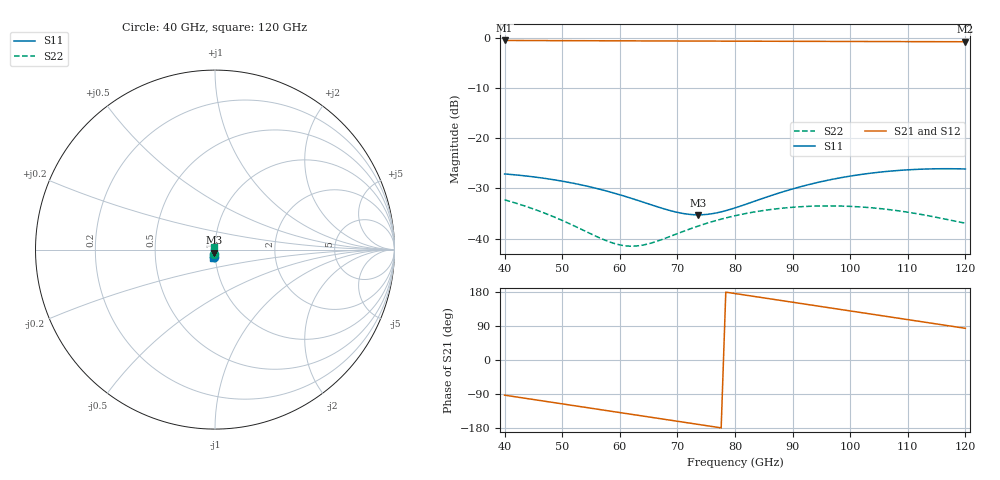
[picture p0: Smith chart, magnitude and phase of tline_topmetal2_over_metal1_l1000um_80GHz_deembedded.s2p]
! Created with skrf 2.0.1 (http://scikit-rf.org).
# GHz S DB R 50.0
!freq dBS11 angS11 dBS21 angS21 dBS12 angS12 dBS22 angS22
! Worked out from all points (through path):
!   101 points, 40 GHz to 120 GHz, reference 50 ohm
!   highest |S21| = -0.51 dB at 40 GHz (marker M1); lowest = -0.8 dB at 120 GHz (marker M2)
!   group delay of S21, straight-line fit = 6.37 ps
!   lowest |S11| = -35.3 dB at 73.6 GHz (marker M3), VSWR 1.04, Z = 49.6 - j1.67 ohm
!   |S11| at or under -10 dB: start of sweep to end of sweep
!   |S22| runs from -41.5 to -32.3 dB; largest |S21 - S12| = 1.1e-14
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40  -27.12 -97.8  -0.51 -92.8  -0.51 -92.8  -32.28 -103.8
43.2  -27.46 -104.2  -0.52 -100.1  -0.52 -100.1  -33.40 -110.8
46.4  -27.91 -110.0  -0.53 -107.5  -0.53 -107.5  -34.69 -116.8
49.6  -28.48 -115.2  -0.55 -114.8  -0.55 -114.8  -36.19 -121.0
53.6  -29.38 -120.7  -0.56 -124.0  -0.56 -124.0  -38.31 -122.5
57.6  -30.49 -124.4  -0.58 -133.2  -0.58 -133.2  -40.40 -117.0
60.8  -31.55 -125.6  -0.59 -140.5  -0.59 -140.5  -41.43 -106.9
62.4  -32.13 -125.4  -0.59 -144.2  -0.59 -144.2  -41.52 -100.9
64  -32.72 -124.5  -0.60 -147.9  -0.60 -147.9  -41.31 -95.4
67.2  -33.91 -120.4  -0.61 -155.2  -0.61 -155.2  -40.24 -87.6
70.4  -34.88 -112.6  -0.62 -162.6  -0.62 -162.6  -38.85 -85.2
73.6  -35.27 -101.8  -0.63 -169.9  -0.63 -169.9  -37.52 -87.0
76.8  -34.89 -90.7  -0.64 -177.3  -0.64 -177.3  -36.38 -91.4
80  -33.89 -82.2  -0.65 175.4  -0.65 175.4  -35.46 -97.6
86.4  -31.38 -74.9  -0.67 160.7  -0.67 160.7  -34.18 -113.3
89.6  -30.24 -74.8  -0.68 153.4  -0.68 153.4  -33.80 -122.3
93.6  -29.02 -76.6  -0.69 144.2  -0.69 144.2  -33.54 -134.3
100.8  -27.41 -82.8  -0.71 127.7  -0.71 127.7  -33.63 -158.1
107.2  -26.54 -89.6  -0.73 113.0  -0.73 113.0  -34.29 177.9
113.6  -26.13 -96.6  -0.75 98.3  -0.75 98.3  -35.46 150.1
116.8  -26.08 -99.9  -0.76 91.0  -0.76 91.0  -36.19 133.9
120  -26.13 -103.0  -0.77 83.6  -0.77 83.6  -36.94 115.6
